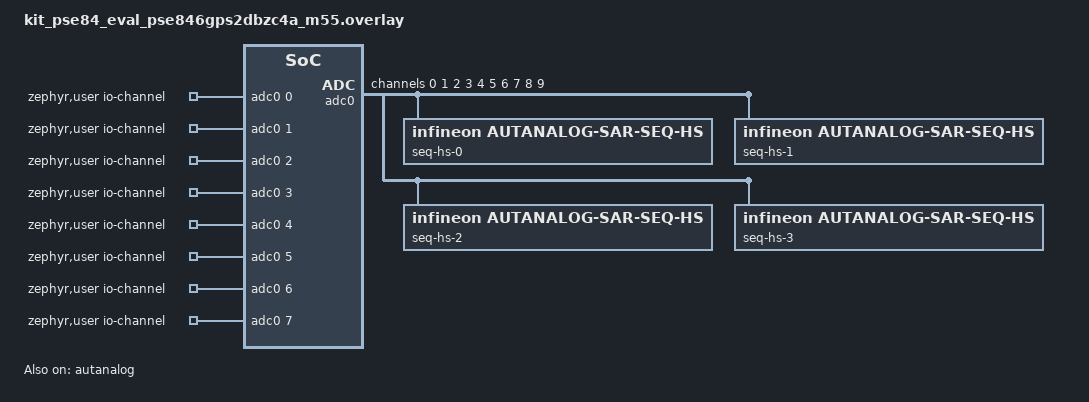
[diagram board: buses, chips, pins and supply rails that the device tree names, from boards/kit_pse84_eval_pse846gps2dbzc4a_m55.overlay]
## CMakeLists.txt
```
# SPDX-FileCopyrightText: Copyright (c) 2026 Infineon Technologies AG,
# SPDX-FileCopyrightText: or an affiliate of Infineon Technologies AG. All rights reserved.
#
# SPDX-License-Identifier: Apache-2.0

cmake_minimum_required(VERSION 3.20.0)

find_package(Zephyr REQUIRED HINTS $ENV{ZEPHYR_BASE})
project(autanalog_multi_seq)

target_sources(app PRIVATE src/main.c)
```

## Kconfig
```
# SPDX-FileCopyrightText: Copyright (c) 2026 Infineon Technologies AG,
# SPDX-FileCopyrightText: or an affiliate of Infineon Technologies AG. All rights reserved.
#
# SPDX-License-Identifier: Apache-2.0

mainmenu "Infineon AutAnalog SAR multi-sequencer sample"

source "Kconfig.zephyr"

config SAMPLE_ADC_CALIBRATE_REQUIRED
	bool "Require calibrate field in ADC"
	help
	  Set the calibrate field in the ADC sequence so a calibration is
	  performed before the read.
```

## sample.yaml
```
# SPDX-FileCopyrightText: <text>Copyright (c) 2026 Infineon Technologies AG,
# or an affiliate of Infineon Technologies AG. All rights reserved.</text>
#
# SPDX-License-Identifier: Apache-2.0

sample:
  name: AutAnalog ADC multi-sequencer sample
common:
  tags:
    - adc
  depends_on:
    - adc
  filter: dt_node_has_prop("/zephyr,user","io-channels")

tests:
  sample.boards.infineon.autanalog_multi_seq:
    platform_allow:
      - kit_pse84_eval/pse846gps2dbzc4a/m55
    integration_platforms:
      - kit_pse84_eval/pse846gps2dbzc4a/m55
    harness: console
    timeout: 10
    harness_config:
      type: multi_line
      regex:
        - "ADC reading\\[\\d+\\]:"
        - "- .+, channel \\d+: -?\\d+"
```

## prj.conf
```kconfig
# SPDX-FileCopyrightText: Copyright (c) 2026 Infineon Technologies AG,
# SPDX-FileCopyrightText: or an affiliate of Infineon Technologies AG. All rights reserved.
#
# SPDX-License-Identifier: Apache-2.0

CONFIG_ADC=y
```

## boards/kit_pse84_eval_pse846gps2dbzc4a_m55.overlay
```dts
/*
 * SPDX-FileCopyrightText: Copyright (c) 2026 Infineon Technologies AG,
 * SPDX-FileCopyrightText: or an affiliate of Infineon Technologies AG. All rights reserved.
 *
 * SPDX-License-Identifier: Apache-2.0
 */

#include <zephyr/dt-bindings/adc/adc.h>
#include <zephyr/dt-bindings/adc/infineon-autanalog-sar.h>

/ {
	zephyr,user {
		/* ADC channels: GPIO ch0~7, MUX ch8~9 */
		io-channels = <&adc0 0>, <&adc0 1>, <&adc0 2>, <&adc0 3>,
			      <&adc0 4>, <&adc0 5>, <&adc0 6>, <&adc0 7>,
			      <&adc0 8>, <&adc0 9>;
	};
};

&autanalog {
	status = "okay";
};

&adc0 {
	status = "okay";
	#address-cells = <1>;
	#size-cells = <0>;

	/* Static sample-time mode: four slots with distinct acquisition times.
	 * Each channel's zephyr,acquisition-time must match the slot selected by
	 * the sequencer entry that samples it (sample-time-sel).
	 */
	sample-times = <ADC_ACQ_TIME(ADC_ACQ_TIME_MICROSECONDS, 1)>,
		       <ADC_ACQ_TIME(ADC_ACQ_TIME_MICROSECONDS, 2)>,
		       <ADC_ACQ_TIME(ADC_ACQ_TIME_MICROSECONDS, 5)>,
		       <ADC_ACQ_TIME(ADC_ACQ_TIME_MICROSECONDS, 10)>;

	channel@0 {
		reg = <0>;
		zephyr,acquisition-time = <ADC_ACQ_TIME(ADC_ACQ_TIME_MICROSECONDS, 1)>;
		zephyr,gain = "ADC_GAIN_1";
		zephyr,reference = "ADC_REF_INTERNAL";
		zephyr,resolution = <12>;
		zephyr,input-positive = <0>;   /* P15.0 */
	};

	channel@1 {
		reg = <1>;
		zephyr,acquisition-time = <ADC_ACQ_TIME(ADC_ACQ_TIME_MICROSECONDS, 1)>;
		zephyr,gain = "ADC_GAIN_1";
		zephyr,reference = "ADC_REF_INTERNAL";
		zephyr,resolution = <12>;
		zephyr,input-positive = <1>;   /* P15.1 */
	};

	channel@2 {
		reg = <2>;
		zephyr,acquisition-time = <ADC_ACQ_TIME(ADC_ACQ_TIME_MICROSECONDS, 2)>;
		zephyr,gain = "ADC_GAIN_1";
		zephyr,reference = "ADC_REF_INTERNAL";
		zephyr,resolution = <12>;
		zephyr,input-positive = <2>;   /* P15.2 */
	};

	channel@3 {
		reg = <3>;
		zephyr,acquisition-time = <ADC_ACQ_TIME(ADC_ACQ_TIME_MICROSECONDS, 2)>;
		zephyr,gain = "ADC_GAIN_1";
		zephyr,reference = "ADC_REF_INTERNAL";
		zephyr,resolution = <12>;
		zephyr,input-positive = <3>;   /* P15.3 */
	};

	channel@4 {
		reg = <4>;
		zephyr,acquisition-time = <ADC_ACQ_TIME(ADC_ACQ_TIME_MICROSECONDS, 2)>;
		zephyr,gain = "ADC_GAIN_1";
		zephyr,reference = "ADC_REF_INTERNAL";
		zephyr,resolution = <12>;
		zephyr,input-positive = <4>;   /* P15.4 */
	};

	channel@5 {
		reg = <5>;
		zephyr,acquisition-time = <ADC_ACQ_TIME(ADC_ACQ_TIME_MICROSECONDS, 5)>;
		zephyr,gain = "ADC_GAIN_1";
		zephyr,reference = "ADC_REF_INTERNAL";
		zephyr,resolution = <12>;
		zephyr,input-positive = <5>;   /* P15.5 */
	};

	channel@6 {
		reg = <6>;
		zephyr,acquisition-time = <ADC_ACQ_TIME(ADC_ACQ_TIME_MICROSECONDS, 5)>;
		zephyr,gain = "ADC_GAIN_1";
		zephyr,reference = "ADC_REF_INTERNAL";
		zephyr,resolution = <12>;
		zephyr,input-positive = <6>;   /* P15.6 */
	};

	channel@7 {
		reg = <7>;
		zephyr,acquisition-time = <ADC_ACQ_TIME(ADC_ACQ_TIME_MICROSECONDS, 5)>;
		zephyr,gain = "ADC_GAIN_1";
		zephyr,reference = "ADC_REF_INTERNAL";
		zephyr,resolution = <12>;
		zephyr,input-positive = <7>;   /* P15.7 */
	};

	/* MUX channel: P15.0 via internal MUX routing.
	 * Channel ID 8 = MUX channel index 0.
	 */
	channel@8 {
		reg = <8>;
		zephyr,acquisition-time = <ADC_ACQ_TIME(ADC_ACQ_TIME_MICROSECONDS, 10)>;
		zephyr,gain = "ADC_GAIN_1";
		zephyr,reference = "ADC_REF_INTERNAL";
		zephyr,resolution = <12>;
		zephyr,input-positive = <IFX_AUTANALOG_SAR_PIN_MUX_GPIO0>;
		mux-buf-bypass;
	};

	/* MUX channel: P15.2 via internal MUX routing.
	 * Channel ID 9 = MUX channel index 1.
	 */
	channel@9 {
		reg = <9>;
		zephyr,acquisition-time = <ADC_ACQ_TIME(ADC_ACQ_TIME_MICROSECONDS, 10)>;
		zephyr,gain = "ADC_GAIN_1";
		zephyr,reference = "ADC_REF_INTERNAL";
		zephyr,resolution = <12>;
		zephyr,input-positive = <IFX_AUTANALOG_SAR_PIN_MUX_GPIO2>;
		mux-buf-bypass;
	};

	/* HS sequencer table: each entry samples several channels at once and
	 * selects its own sample-time slot via sample-time-sel.  All channels
	 * grouped in one entry must share that slot's acquisition time.  Entries
	 * are chained via next-action; the last one stops the scan.
	 */
	seq-hs-0 {
		compatible = "infineon,autanalog-sar-seq-hs";
		gpio-channels = <0x03>;  /* GPIO ch 0, 1 */
		sample-time-en;
		sample-time-sel = <IFX_AUTANALOG_SAR_SEQ_SAMPLE_TIME0>;  /* 1 us */
		next-action = <IFX_AUTANALOG_SAR_SEQ_NEXT_CONTINUE>;
	};

	seq-hs-1 {
		compatible = "infineon,autanalog-sar-seq-hs";
		gpio-channels = <0x1c>;  /* GPIO ch 2, 3, 4 */
		sample-time-en;
		sample-time-sel = <IFX_AUTANALOG_SAR_SEQ_SAMPLE_TIME1>;  /* 2 us */
		next-action = <IFX_AUTANALOG_SAR_SEQ_NEXT_CONTINUE>;
	};

	seq-hs-2 {
		compatible = "infineon,autanalog-sar-seq-hs";
		gpio-channels = <0xe0>;  /* GPIO ch 5, 6, 7 */
		sample-time-en;
		sample-time-sel = <IFX_AUTANALOG_SAR_SEQ_SAMPLE_TIME2>;  /* 5 us */
		next-action = <IFX_AUTANALOG_SAR_SEQ_NEXT_CONTINUE>;
	};

	seq-hs-3 {
		compatible = "infineon,autanalog-sar-seq-hs";
		mux-mode = <IFX_AUTANALOG_SAR_MUX0_MUX1_SINGLE_ENDED>;
		mux0-sel = <0>;  /* MUX ch 8 (MUX index 0) */
		mux1-sel = <1>;  /* MUX ch 9 (MUX index 1) */
		sample-time-en;
		sample-time-sel = <IFX_AUTANALOG_SAR_SEQ_SAMPLE_TIME3>;  /* 10 us */
		next-action = <IFX_AUTANALOG_SAR_SEQ_NEXT_STOP>;
	};
};

&gpio_prt15 {
	status = "okay";
};
```

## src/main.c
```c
/*
 * SPDX-FileCopyrightText: Copyright (c) 2026 Infineon Technologies AG,
 * SPDX-FileCopyrightText: or an affiliate of Infineon Technologies AG. All rights reserved.
 *
 * SPDX-License-Identifier: Apache-2.0
 */

#include <errno.h>
#include <inttypes.h>
#include <stddef.h>
#include <stdint.h>

#include <zephyr/device.h>
#include <zephyr/devicetree.h>
#include <zephyr/drivers/adc.h>
#include <zephyr/kernel.h>
#include <zephyr/sys/printk.h>
#include <zephyr/sys/util.h>
#include <zephyr/drivers/adc/infineon_autanalog_sar.h>

#if !DT_NODE_EXISTS(DT_PATH(zephyr_user)) || !DT_NODE_HAS_PROP(DT_PATH(zephyr_user), io_channels)
#error "No suitable devicetree overlay specified"
#endif

#define DT_SPEC_AND_COMMA(node_id, prop, idx) ADC_DT_SPEC_GET_BY_IDX(node_id, idx),

/* Data of ADC io-channels specified in devicetree. */
static const struct adc_dt_spec adc_channels[] = {
	DT_FOREACH_PROP_ELEM(DT_PATH(zephyr_user), io_channels, DT_SPEC_AND_COMMA)};

static int setup_adc(void)
{
	int err;

	/* Configure ADC channels */
	for (size_t i = 0U; i < ARRAY_SIZE(adc_channels); i++) {
		if (!adc_is_ready_dt(&adc_channels[i])) {
			printk("ADC controller device %s not ready\n", adc_channels[i].dev->name);
			return -ENODEV;
		}

		err = adc_channel_setup_dt(&adc_channels[i]);
		if (err < 0) {
			printk("Could not setup channel #%d (%d)\n", i, err);
			return err;
		}
	}

	return 0;
}

int main(void)
{
	int err;
	uint32_t count = 0;
	uint32_t buf;
	struct adc_sequence sequence = {
		.buffer = &buf,
		/* buffer size in bytes, not number of samples */
		.buffer_size = sizeof(buf),
#if CONFIG_SAMPLE_ADC_CALIBRATE_REQUIRED
		.calibrate = true,
#endif
	};

	err = setup_adc();
	if (err < 0) {
		printk("Failed to setup ADC (%d)\n", err);
		return 0;
	}
#ifndef CONFIG_COVERAGE
	while (1) {
#else
	for (int k = 0; k < 10; k++) {
#endif
		printk("ADC reading[%u]:\n", count++);
		for (size_t i = 0U; i < ARRAY_SIZE(adc_channels); i++) {
			int32_t val_mv;

			printk("- %s, channel %d: ", adc_channels[i].dev->name,
			       adc_channels[i].channel_id);

			(void)adc_sequence_init_dt(&adc_channels[i], &sequence);

			err = adc_read_dt(&adc_channels[i], &sequence);
			if (err < 0) {
				printk("Could not read (%d)\n", err);
				continue;
			}

			/*
			 * If using differential mode, the 16 bit value
			 * in the ADC sample buffer should be a signed 2's
			 * complement value.
			 */
			if (adc_channels[i].channel_cfg.differential) {
				val_mv = (int32_t)((int16_t)buf);
			} else {
				val_mv = (int32_t)buf;
			}
			printk("%" PRId32, val_mv);
			err = adc_raw_to_millivolts_dt(&adc_channels[i], &val_mv);
			/* conversion to mV may not be supported, skip if not */
			if (err < 0) {
				printk(" (value in mV not available)\n");
			} else {
				printk(" = %" PRId32 " mV\n", val_mv);
			}
		}

		k_sleep(K_MSEC(1000));
		printk("\n");
	}
	return 0;
}
```
